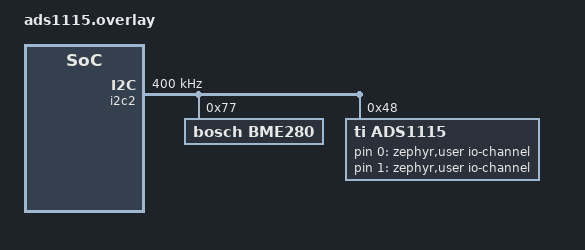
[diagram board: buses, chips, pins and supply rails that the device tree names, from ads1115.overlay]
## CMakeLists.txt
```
#
# Copyright (c) 2022 Achim Kraus CloudCoap.net
#
# See the NOTICE file(s) distributed with this work for additional
# information regarding copyright ownership.
#
# This program and the accompanying materials are made available under the
# terms of the Eclipse Public License 2.0 which is available at
# http://www.eclipse.org/legal/epl-2.0
#
# SPDX-License-Identifier: EPL-2.0
#

cmake_minimum_required(VERSION 3.21.0)

find_package(Zephyr REQUIRED HINTS $ENV{ZEPHYR_BASE})

project(coaps-client)

target_compile_options(app PRIVATE -fanalyzer)

# APP START
target_sources(app PRIVATE
	src/parse.c
	src/transform.c
	src/power_manager.c
	src/io_job_queue.c
	src/ui.c
	src/appl_diagnose.c
	src/appl_settings.c
	src/appl_time.c
	src/modem.c
	src/modem_desc.c
	src/modem_sim.c
	src/modem_at.c
	src/dtls_client.c
	src/coap_client.c
	src/coap_appl_client.c
	src/expansion_port.c
	)

target_sources_ifdef(CONFIG_DTLS_ECDSA_AUTO_PROVISIONING app PRIVATE src/coap_prov_client.c)

target_sources_ifdef(CONFIG_SH_CMD app PRIVATE src/sh_cmd.c)

target_sources_ifdef(CONFIG_SH_CMD app PRIVATE src/modem_cmd.c)

target_sources_ifdef(CONFIG_SH_CMD_MODEM_TRACE app PRIVATE src/modem_trace_cmd.c)

target_sources_ifdef(CONFIG_UART_MANAGER app PRIVATE src/uart_manager.c)

target_sources_ifdef(CONFIG_UPDATE app PRIVATE src/appl_update.c)

target_sources_ifdef(CONFIG_UART_UPDATE app PRIVATE src/appl_update_xmodem.c)

target_sources_ifdef(CONFIG_COAP_UPDATE app PRIVATE src/appl_update_coap.c)

target_sources_ifdef(CONFIG_LOCATION_ENABLE app PRIVATE src/location.c)

target_sources_ifdef(CONFIG_MOTION_SENSOR app PRIVATE src/accelerometer_sensor.c)

target_sources_ifdef(CONFIG_ENVIRONMENT_SENSOR app PRIVATE src/environment_sensor.c src/environment_history.c)

target_sources_ifdef(CONFIG_SHT21 app PRIVATE src/environment_sht21.c src/environment_history.c)

target_sources_ifdef(CONFIG_BATTERY_ADC app PRIVATE src/battery_adc.c)

target_sources_ifdef(CONFIG_NAU7802_SCALE app PRIVATE src/nau7802.c)

target_sources_ifdef(CONFIG_USE_APPL_STORAGE app PRIVATE src/appl_storage.c src/appl_storage_config.c)

if (CONFIG_BME680_BSEC)
        set(bsec_version "bsec_1-4-9-2_generic_release")
        set(bsec_dir "${ZEPHYR_NRF_MODULE_DIR}/ext/${bsec_version}")

        if (CONFIG_FP_SOFTABI)
                set(BSEC_LIB_DIR ${bsec_dir}/algo/normal_version/bin/gcc/Cortex_M33)
        endif()
        if (CONFIG_FP_HARDABI)
                set(BSEC_LIB_DIR ${bsec_dir}/algo/normal_version/bin/gcc/Cortex_M33F)
        endif()

        if(NOT EXISTS "${BSEC_LIB_DIR}/libalgobsec.a")
                assert(0 "Could not find BSEC library in \"${bsec_dir}\".")
        endif()

        if (CONFIG_BME680_BSEC_SAMPLE_MODE_ULTRA_LOW_POWER)
                set(BSEC_CONFIG_DIR ${bsec_dir}/config/generic_18v_300s_4d)
        endif()
        if (CONFIG_BME680_BSEC_SAMPLE_MODE_LOW_POWER)
                set(BSEC_CONFIG_DIR ${bsec_dir}/config/generic_18v_3s_4d)
        endif()
        set(BSEC_EXAMPLE_DIR ${bsec_dir}/examples)

        target_include_directories(app PRIVATE ${BSEC_LIB_DIR} ${BSEC_CONFIG_DIR} ${BSEC_EXAMPLE_DIR})

        target_sources(app PRIVATE 
                src/environment_sensor.c
                 src/environment_history.c
                ${BSEC_CONFIG_DIR}/bsec_serialized_configurations_iaq.c
                ${BSEC_EXAMPLE_DIR}/bsec_integration.c
                ${BSEC_EXAMPLE_DIR}/bme68x.c)

        add_library(bsec_lib STATIC IMPORTED GLOBAL)
        add_dependencies(bsec_lib math_lib bsec_target)

        set_target_properties(bsec_lib PROPERTIES IMPORTED_LOCATION "${BSEC_LIB_DIR}/libalgobsec.a")
        set_target_properties(bsec_lib PROPERTIES INTERFACE_INCLUDE_DIRECTORIES "${BSEC_LIB_DIR}")

        target_link_libraries(bsec_lib INTERFACE -L${LIBC_LIBRARY_DIR})
        target_link_libraries(app PUBLIC bsec_lib)
endif()

zephyr_include_directories(src)

# UART cmds
zephyr_linker_sources(SECTIONS sh_cmds.ld)

# tinydtls - support DTLS 1.2 Connection ID
zephyr_library_link_libraries(tinydtls)

# APP END

if (COPY_PREBUILDS_FULL)
   # Enable west build -b ... -- -DCOPY_PREBUILDS_FULL=On
   # Copies the .hex files before the build!
   # Therefore build it first without,
   # and a second time with -DCOPY_PREBUILDS_FULL=On

   message(NOTICE "copy prebuild full binaries into ${CMAKE_BINARY_DIR}/../prebuild")
   if (EXISTS "${CMAKE_BINARY_DIR}/zephyr/merged.hex")
      file(COPY_FILE ${CMAKE_BINARY_DIR}/zephyr/merged.hex ${CMAKE_BINARY_DIR}/../prebuild/${BOARD}_full.hex)
   else()
      message(FATAL_ERROR "missing ${CMAKE_BINARY_DIR}/zephyr/merged.hex")
   endif()
endif()

if (COPY_PREBUILDS_UPDATE)
   # Enable west build -b ... -- -DCOPY_PREBUILDS_UPDATE=On
   # Copies the .hex files before the build!
   # Therefore build it first without,
   # and a second time with -DCOPY_PREBUILDS_UPDATE=On

   message(NOTICE "copy prebuild update binaries into ${CMAKE_BINARY_DIR}/../prebuild")
   if (EXISTS "${CMAKE_BINARY_DIR}/zephyr/app_update.bin")
      file(COPY_FILE ${CMAKE_BINARY_DIR}/zephyr/app_update.bin ${CMAKE_BINARY_DIR}/../prebuild/${BOARD}_app_update.bin)
   else()
      message(FATAL_ERROR "missing ${CMAKE_BINARY_DIR}/zephyr/app_update.bin")
   endif()
   if (EXISTS "${CMAKE_BINARY_DIR}/zephyr/app_signed.hex")
      file(COPY_FILE ${CMAKE_BINARY_DIR}/zephyr/app_signed.hex ${CMAKE_BINARY_DIR}/../prebuild/${BOARD}_app_update.hex)
   else()
      message(FATAL_ERROR "missing ${CMAKE_BINARY_DIR}/zephyr/app_signed.hex")
   endif()
endif()

if (CONFIG_COAP_SEND_INTERVAL)
set(BUILD_SUMUP1 "Build with send interval ${CONFIG_COAP_SEND_INTERVAL} s.")
else()
set(BUILD_SUMUP1 "Build without send interval.")
endif()

if (CONFIG_LOCATION_ENABLE)
set(BUILD_SUMUP2 "Build with GNSS.")
else()
set(BUILD_SUMUP2 "Build without GNSS.")
endif()

if (CONFIG_BME680)
set(BUILD_SUMUP3 "Build with BME680.")
elseif (CONFIG_BME680_BSEC)
set(BUILD_SUMUP3 "Build with BME680 BSEC.")
elseif (CONFIG_SHT3XD)
set(BUILD_SUMUP3 "Build with SHT31.")
elseif (CONFIG_SHT21)
set(BUILD_SUMUP3 "Build with SHT21.")
elseif (CONFIG_DS18B20)
set(BUILD_SUMUP3 "Build with DS18B20.")
elseif (CONFIG_BME280)
set(BUILD_SUMUP3 "Build with BME280.")
elseif (CONFIG_DPS310)
set(BUILD_SUMUP3 "Build with DPS310.")
elseif (CONFIG_ENVIRONMENT_SENSOR)
set(BUILD_SUMUP3 "Build with env-sensor.")
else()
set(BUILD_SUMUP3 "Build without BME680/BME280/SHT21/SHT31/DS18B20/DPS310.")
endif()

if (CONFIG_ENVIRONMENT_SENSOR)
if (CONFIG_ENVIRONMENT_HISTORY_SIZE GREATER 0)
set(BUILD_SUMUP4 "Build with history using ${CONFIG_ENVIRONMENT_HISTORY_SIZE} values.")
else()
set(BUILD_SUMUP4 "Build without history.")
endif()
else()
set(BUILD_SUMUP4 "Build without history, no env-sensor.")
endif()


if (CONFIG_COAP_WAIT_ON_POWERMANAGER)
set(BUILD_SUMUP5 "Build with waiting for power-manager.")
else()
set(BUILD_SUMUP5 "Build without waiting for power-manager.")
endif()

if (CONFIG_SUSPEND_3V3 AND CONFIG_SUSPEND_UART)
set(BUILD_SUMUP6 "Suspend 3.3V and UART.")
elseif (CONFIG_SUSPEND_3V3)
set(BUILD_SUMUP6 "Suspend 3.3V.")
elseif (CONFIG_SUSPEND_UART)
set(BUILD_SUMUP6 "Suspend UART.")
else()
set(BUILD_SUMUP6 "Not suspending 3.3V nor UART.")
endif()

if (CONFIG_BATTERY_VOLTAGE_SOURCE_ADC)
set(BUILD_SUMUP7 "Build with ADC battery voltage.")
elseif (BATTERY_VOLTAGE_SOURCE_INA219)
set(BUILD_SUMUP7 "Build with INA219 battery voltage.")
else()
set(BUILD_SUMUP7 "Build with modem battery voltage.")
endif()


if (CONFIG_BATTERY_TYPE_LIPO_1350_MAH)
list(APPEND BATTERIES "1350 mAh LiPo")
endif()
if (CONFIG_BATTERY_TYPE_LIPO_2000_MAH)
list(APPEND BATTERIES "2000 mAh LiPo")
endif()
if (CONFIG_BATTERY_TYPE_LIPO_2000_MAH_ADC)
list(APPEND BATTERIES "2000 mAh LiPo/ADC")
endif()
if (CONFIG_BATTERY_TYPE_NIMH_2000_MAH)
list(APPEND BATTERIES "2000 mAh NiMH")
endif()
if (CONFIG_BATTERY_TYPE_NIMH_2000_MAH_ADC)
list(APPEND BATTERIES "2000 mAh NiMH/ADC")
endif()
if (CONFIG_BATTERY_TYPE_NIMH_4_2000_MAH)
list(APPEND BATTERIES "2000 mAh NiMH / 4 cells")
endif()
if (CONFIG_BATTERY_TYPE_SUPER_CAP_LIHY)
list(APPEND BATTERIES "400F LiHy")
endif()

list(LENGTH BATTERIES BATTERIES_LENGTH)
if (BATTERIES_LENGTH GREATER 0)
list(JOIN BATTERIES ", " BATTERIES)
set(BATTERY_DEFAULT "")
if (CONFIG_BATTERY_TYPE_DEFAULT EQUAL 1)
set(BATTERY_DEFAULT ", default 1350 mAh LiPo")
elseif(CONFIG_BATTERY_TYPE_DEFAULT EQUAL 2)
if (CONFIG_BATTERY_TYPE_LIPO_2000_MAH)
set(BATTERY_DEFAULT ", default 2000 mAh LiPo")
else()
set(BATTERY_DEFAULT ", default 2000 mAh LiPo/ADC")
endif()
elseif(CONFIG_BATTERY_TYPE_DEFAULT EQUAL 3)
if (CONFIG_BATTERY_TYPE_NIMH_2000_MAH)
set(BATTERY_DEFAULT ", default 2000 mAh NiMH")
else()
set(BATTERY_DEFAULT ", default 2000 mAh NiMH/ADC")
endif()
elseif(CONFIG_BATTERY_TYPE_DEFAULT EQUAL 4)
set(BATTERY_DEFAULT ", default 2000 mAh NiMH/4")
elseif(CONFIG_BATTERY_TYPE_DEFAULT EQUAL 5)
set(BATTERY_DEFAULT ", default 400 F LiHy")
endif()
set(BUILD_SUMUP8 "Build with batteries ${BATTERIES}${BATTERY_DEFAULT}")
else()
set(BUILD_SUMUP8 "Build without battery")
endif()

if (CONFIG_LOG_BACKEND_UART_MANAGER)
set(BUILD_SUMUP9 "Build with UART manager log backend.")
elseif (CONFIG_UART_MANAGER)
set(BUILD_SUMUP9 "Build with UART manager.")
else()
set(BUILD_SUMUP9 "Build without UART manager.")
endif()

if (CONFIG_NRF_MODEM_LIB_TRACE)
if (CONFIG_NRF_MODEM_LIB_TRACE_BACKEND_UART)
set(BUILD_SUMUP10 "Build with UART modem trace.")
elseif (CONFIG_NRF_MODEM_LIB_TRACE_BACKEND_FLASH)
set(BUILD_SUMUP10 "Build with FLASH modem trace.")
elseif (CONFIG_NRF_MODEM_LIB_TRACE_BACKEND_RAM)
set(BUILD_SUMUP10 "Build with RAM modem trace.")
elseif (CONFIG_NRF_MODEM_LIB_TRACE_BACKEND_RTT)
set(BUILD_SUMUP10 "Build with RTT modem trace.")
else()
set(BUILD_SUMUP10 "Build unknown modem trace?")
endif()
else()
set(BUILD_SUMUP10 "Build without modem trace.")
endif()

if (CONFIG_INIT_SETTINGS)
set(BUILD_SUMUP11 "Build with initial settings.")
else()
set(BUILD_SUMUP11 "Build without initial settings.")
endif()

if (CONFIG_USE_APPL_STORAGE)
set(BUILD_SUMUP12 "Build with application storage.")
else()
set(BUILD_SUMUP12 "Build without application storage.")
endif()

zephyr_get(USE_NEW_PARTITION_LAYOUT SYSBUILD)

if (USE_NEW_PARTITION_LAYOUT)
set(BUILD_SUMUP13 "Build with new partition layout.")
else()
set(BUILD_SUMUP13 "Build with old partition layout.")
endif()

message(STATUS "PM_STATIC_YML_FILE: ${PM_STATIC_YML_FILE}")

add_custom_command(TARGET app POST_BUILD
                   COMMAND echo "${BUILD_SUMUP1}"
                   COMMAND echo "${BUILD_SUMUP2}"
                   COMMAND echo "${BUILD_SUMUP3}"
                   COMMAND echo "${BUILD_SUMUP4}"
                   COMMAND echo "${BUILD_SUMUP5}"
                   COMMAND echo "${BUILD_SUMUP6}"
                   COMMAND echo "${BUILD_SUMUP7}"
                   COMMAND echo "${BUILD_SUMUP8}"
                   COMMAND echo "${BUILD_SUMUP9}"
                   COMMAND echo "${BUILD_SUMUP10}"
                   COMMAND echo "${BUILD_SUMUP11}"
                   COMMAND echo "${BUILD_SUMUP12}"
                   COMMAND echo "${BUILD_SUMUP13}"
                   COMMAND echo "Build with network search timeout ${CONFIG_MODEM_SEARCH_TIMEOUT}s"
                   COMMAND echo "${CONFIG_MCUBOOT_IMGTOOL_SIGN_VERSION}"
                   )
```

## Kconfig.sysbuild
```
#
# Copyright (c) 2026 Nordic Semiconductor ASA
#
# SPDX-License-Identifier: LicenseRef-Nordic-5-Clause
#

config PARTITION_MANAGER
	default n

if BOARD_THINGY91X_NRF9151 || BOARD_THINGY91X_NRF9151_NS

choice THINGY91X_LAYOUT
	prompt "Pre-defined Thingy:91 X partition layout"
	default THINGY91X_NO_PREDEFINED_LAYOUT

config THINGY91X_NO_PREDEFINED_LAYOUT
	bool "None [EXPERIMENTAL]"

endchoice

endif

source "share/sysbuild/Kconfig"
```

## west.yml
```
#
# Copyright (c) 2022 Achim Kraus CloudCoap.net
#
# See the NOTICE file(s) distributed with this work for additional
# information regarding copyright ownership.
#
# This program and the accompanying materials are made available under the
# terms of the Eclipse Public License 2.0 which is available at
# http://www.eclipse.org/legal/epl-2.0
#
# SPDX-License-Identifier: EPL-2.0
#

manifest:
  remotes:
    - name: ncs
      url-base: https://github.com/nrfconnect
    - name: eclipse
      url-base: https://github.com/boaks
  projects:
    - name: nrf
      repo-path: sdk-nrf
      remote: ncs
      revision: v3.4.0
      import:
        name-blocklist:
          - matter
          - nrf-802154
          - openthread
          - cmock
          - unity
          - cddl-gen
          - homekit
          - loramac-node
          - lz4
          - lvgl
          - mipi-sys-t
    - name: tinydtls
      submodules: true
      repo-path: tinydtls
      remote: eclipse
      revision: zephyr_cid_develop
      path: modules/lib/tinydtls
  self:
    path: coaps-client
```

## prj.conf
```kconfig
#
# Copyright (c) 2022 Achim Kraus CloudCoap.net
#
# See the NOTICE file(s) distributed with this work for additional
# information regarding copyright ownership.
#
# This program and the accompanying materials are made available under the
# terms of the Eclipse Public License 2.0 which is available at
# http://www.eclipse.org/legal/epl-2.0
#
# SPDX-License-Identifier: EPL-2.0
#

# Application version, requires CONFIG_BOOTLOADER_MCUBOOT
# Before NCS 2.5.0
# CONFIG_MCUBOOT_IMAGE_VERSION="0.9.99+0"
# Since NCS 2.5.0 the VERSION file provides that information 

CONFIG_TFM_PROFILE_TYPE_MINIMAL=y

CONFIG_KERNEL_BIN_NAME="cloudcoap"
CONFIG_NCS_APPLICATION_BOOT_BANNER_STRING="cloudcoap"

# General config
# gone with NCS 3.4.0
#CONFIG_NEWLIB_LIBC=y
#CONFIG_NEWLIB_LIBC_FLOAT_PRINTF=y
CONFIG_PICOLIBC=y
CONFIG_PICOLIBC_IO_FLOAT=y
#CONFIG_CBPRINTF_COMPLETE=y

CONFIG_NCS_SAMPLES_DEFAULTS=y
CONFIG_FPU=y

# FLASH
CONFIG_FLASH=y
CONFIG_FLASH_PAGE_LAYOUT=y
CONFIG_FLASH_MAP=y
CONFIG_STREAM_FLASH=y
CONFIG_MPU_ALLOW_FLASH_WRITE=y
CONFIG_IMG_ERASE_PROGRESSIVELY=y

# Settings
CONFIG_SETTINGS=y
CONFIG_SETTINGS_NVS=y
CONFIG_NVS=y
CONFIG_SETTINGS_RUNTIME=y
CONFIG_BASE64=y

# CONFIG_STACK_CANARIES=y
# CONFIG_USERSPACE=y
CONFIG_DEBUG_THREAD_INFO=y

# Heap and stacks
CONFIG_MAIN_STACK_SIZE=6000
CONFIG_HEAP_MEM_POOL_SIZE=16384
CONFIG_SYSTEM_WORKQUEUE_STACK_SIZE=2048

CONFIG_REBOOT=y
CONFIG_HWINFO=y
CONFIG_PM_DEVICE=y

CONFIG_WATCHDOG=y
CONFIG_WDT_DISABLE_AT_BOOT=n

#CONFIG_SPIN_VALIDATE=n

#CONFIG_THREAD_ANALYZER=y                                                                           
#CONFIG_THREAD_ANALYZER_AUTO=y                                                                      
#CONFIG_THREAD_ANALYZER_AUTO_INTERVAL=5                                                       
#CONFIG_THREAD_NAME=y

#CONFIG_MPU_STACK_GUARD=y

# Logging
CONFIG_LOG=y
CONFIG_LOG_MODE_DEFERRED=y
#CONFIG_LOG_MODE_IMMEDIATE=y

#CONFIG_USE_SEGGER_RTT=y
#CONFIG_LOG_BACKEND_RTT=y
#CONFIG_LOG_BACKEND_FORMAT_TIMESTAMP=y

CONFIG_TFM_LOG_LEVEL_SILENCE=n
CONFIG_TFM_SPM_LOG_LEVEL_DEBUG=y
CONFIG_TFM_EXCEPTION_INFO_DUMP=y
CONFIG_TFM_SECURE_UART_SHARE_INSTANCE=y
CONFIG_TFM_SECURE_UART0=y

# Use UART in async mode (DMA)
CONFIG_UART_ASYNC_API=y
CONFIG_UART_0_ASYNC=y
CONFIG_UART_0_INTERRUPT_DRIVEN=n
CONFIG_NRFX_TIMER=y

# Network
CONFIG_NETWORKING=y
CONFIG_NET_NATIVE=n
CONFIG_NET_SOCKETS=y
CONFIG_NET_SOCKETS_OFFLOAD=y
CONFIG_POSIX_API=y

#CONFIG_XSI_SINGLE_PROCESS=y
CONFIG_NET_IPV6_NBR_CACHE=n
CONFIG_NET_IPV6_MLD=n

# LTE link control
CONFIG_LTE_LINK_CONTROL=y
# Removed in NCS 2.6.0
# CONFIG_LTE_AUTO_INIT_AND_CONNECT=n
CONFIG_MODEM_INFO=n

# Uncomment for tracing or 
# enable it via cli "-DCONFIG_NRF_MODEM_LIB_TRACE=y"
# CONFIG_NRF_MODEM_LIB_TRACE=y

# Modem library
CONFIG_NRF_MODEM_LIB=y
CONFIG_NRF_MODEM_LIB_ON_FAULT_APPLICATION_SPECIFIC=y

# since NCS 2.9.0 (? after NCS 2.6.2)
CONFIG_LTE_LC_PSM_MODULE=y
CONFIG_LTE_LC_EDRX_MODULE=y
CONFIG_LTE_LC_TAU_PRE_WARNING_MODULE=y
CONFIG_LTE_LC_NEIGHBOR_CELL_MEAS_MODULE=y
CONFIG_LTE_LC_MODEM_SLEEP_MODULE=y
CONFIG_LTE_LC_RAI_MODULE=y
## PDN
CONFIG_AT_MONITOR_HEAP_SIZE=4096
CONFIG_LTE_LC_PDN_MODULE=y
CONFIG_LTE_LC_PDN_ESM_STRERROR=y
CONFIG_LTE_LC_PDN_DEFAULT_FAM_IPV4=y
CONFIG_LTE_LC_PDN_DEFAULTS_OVERRIDE=y

CONFIG_LTE_LC_MODEM_EVENTS_MODULE=y

# LTE parameters
## Network Mode / LTE category
#CONFIG_LTE_NETWORK_MODE_NBIOT=y
#CONFIG_LTE_NETWORK_MODE_LTE_M=y
#CONFIG_LTE_NETWORK_MODE_LTE_M_NBIOT=y
CONFIG_LTE_NETWORK_MODE_LTE_M_NBIOT_GPS=y
CONFIG_LTE_MODE_PREFERENCE_AUTO=y
#CONFIG_LTE_MODE_PREFERENCE_LTE_M=y
#CONFIG_LTE_MODE_PREFERENCE_NBIOT=y
#CONFIG_LTE_MODE_PREFERENCE_LTE_M_PLMN_PRIO=y
#CONFIG_LTE_MODE_PREFERENCE_NBIOT_PLMN_PRIO=y
CONFIG_LTE_LC_MODEM_SLEEP_NOTIFICATIONS=y
CONFIG_LTE_LINK_CONTROL_LOG_LEVEL_INF=y
# indicates all sleeps longer that 30s
CONFIG_LTE_LC_MODEM_SLEEP_NOTIFICATIONS_THRESHOLD_MS=30000
CONFIG_AT_MONITOR=y
#CONFIG_LTE_POWER_ON_OFF_CONFIG_SWITCH=y

## PSM
CONFIG_UDP_PSM_ENABLE=y
# 001xxxxx : hours
# CONFIG_LTE_PSM_REQ_RPTAU="00100100"
# CONFIG_LTE_PSM_REQ_RPTAU="00100001"
# CONFIG_LTE_PSM_REQ_RPTAU="00101000"
# 24h
CONFIG_LTE_PSM_REQ_RPTAU="00111000"
# 101xxxxx : minutes
# CONFIG_LTE_PSM_REQ_RPTAU="10100100"
# 000xxxxx : 10 minutes
# CONFIG_LTE_PSM_REQ_RPTAU="00000001"

# CONFIG_LTE_PSM_REQ_RAT is overwritten in modem.c 
CONFIG_LTE_PSM_REQ_RAT="00000000"

## RAI
CONFIG_AS_RAI_ON=y
# CONFIG_CP_RAI_ON=y

## eDRX
CONFIG_UDP_EDRX_ENABLE=n
#CONFIG_LTE_EDRX_REQ=n
# 655,36 seconds
#CONFIG_LTE_EDRX_REQ_VALUE_LTE_M="1011"
#CONFIG_LTE_EDRX_REQ_VALUE_NBIOT="1011"
#CONFIG_LTE_PTW_VALUE_LTE_M="1111"
#CONFIG_LTE_PTW_VALUE_NBIOT="1001"
# 163.84 seconds
#CONFIG_LTE_EDRX_REQ_VALUE_LTE_M="1001"
#CONFIG_LTE_EDRX_REQ_VALUE_NBIOT="1001"
# 81.92 seconds
#CONFIG_LTE_EDRX_REQ_VALUE_LTE_M="0101"
#CONFIG_LTE_EDRX_REQ_VALUE_NBIOT="0101"
# 40.96 seconds
#CONFIG_LTE_EDRX_REQ_VALUE_LTE_M="0011"
#CONFIG_LTE_EDRX_REQ_VALUE_NBIOT="0011"
# 20.48 seconds
CONFIG_LTE_EDRX_REQ_VALUE_LTE_M="0010"
CONFIG_LTE_EDRX_REQ_VALUE_NBIOT="0010"

CONFIG_LTE_LOCK_BANDS=n

# CONFIG_LTE_LOCK_PLMN=y
# Germany:
# - Telekom: 26201
# - Vodafone: 26202
# - Telefonica: 26203
# CONFIG_LTE_LOCK_PLMN_STRING="26202"

#CONFIG_LTE_FEATURE_PLMN_SELECT_OPTIMIZATION=n
#CONFIG_LTE_FEATURE_HPPLMN_SKIP=n

## SMS
CONFIG_SMS=y
CONFIG_SMS_SUBSCRIBERS_MAX_CNT=2
CONFIG_SMS_LOG_LEVEL_DBG=n

## CoAP
CONFIG_COAP=y

# Logging
CONFIG_COAP_CLIENT_LOG_LEVEL_INF=y
CONFIG_UI_LOG_LEVEL_INF=y
CONFIG_STORAGE_LOG_LEVEL_INF=y

# TinyDtls
CONFIG_LIBTINYDTLS=y
CONFIG_LIBTINYDTLS_PSK=y
CONFIG_LIBTINYDTLS_ECDHE_ECDSA=y
CONFIG_TINYDTLS_LOG_LEVEL_INF=y

# External SHT21 temperature sensor
# CONFIG_SHT21=y
# CONFIG_I2C_LOG_LEVEL_OFF=y
```

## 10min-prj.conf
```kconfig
#
# Copyright (c) 2022 Achim Kraus CloudCoap.net
#
# See the NOTICE file(s) distributed with this work for additional
# information regarding copyright ownership.
#
# This program and the accompanying materials are made available under the
# terms of the Eclipse Public License 2.0 which is available at
# http://www.eclipse.org/legal/epl-2.0
#
# SPDX-License-Identifier: EPL-2.0
#

CONFIG_COAP_SEND_INTERVAL=600
CONFIG_ENVIRONMENT_HISTORY_SIZE=12
CONFIG_ENVIRONMENT_HISTORY_INTERVAL_S=60
```

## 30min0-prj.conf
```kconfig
#
# Copyright (c) 2022 Achim Kraus CloudCoap.net
#
# See the NOTICE file(s) distributed with this work for additional
# information regarding copyright ownership.
#
# This program and the accompanying materials are made available under the
# terms of the Eclipse Public License 2.0 which is available at
# http://www.eclipse.org/legal/epl-2.0
#
# SPDX-License-Identifier: EPL-2.0
#

CONFIG_COAP_SEND_INTERVAL=1800
CONFIG_ENVIRONMENT_HISTORY_SIZE=0
CONFIG_ENVIRONMENT_HISTORY_INTERVAL_S=0
```

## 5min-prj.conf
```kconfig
#
# Copyright (c) 2022 Achim Kraus CloudCoap.net
#
# See the NOTICE file(s) distributed with this work for additional
# information regarding copyright ownership.
#
# This program and the accompanying materials are made available under the
# terms of the Eclipse Public License 2.0 which is available at
# http://www.eclipse.org/legal/epl-2.0
#
# SPDX-License-Identifier: EPL-2.0
#

CONFIG_COAP_SEND_INTERVAL=300
CONFIG_ENVIRONMENT_HISTORY_SIZE=12
CONFIG_ENVIRONMENT_HISTORY_INTERVAL_S=30
```

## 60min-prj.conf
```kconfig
#
# Copyright (c) 2022 Achim Kraus CloudCoap.net
#
# See the NOTICE file(s) distributed with this work for additional
# information regarding copyright ownership.
#
# This program and the accompanying materials are made available under the
# terms of the Eclipse Public License 2.0 which is available at
# http://www.eclipse.org/legal/epl-2.0
#
# SPDX-License-Identifier: EPL-2.0
#

CONFIG_COAP_SEND_INTERVAL=3600
CONFIG_ENVIRONMENT_HISTORY_SIZE=14
CONFIG_ENVIRONMENT_HISTORY_INTERVAL_S=300
```

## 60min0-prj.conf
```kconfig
#
# Copyright (c) 2022 Achim Kraus CloudCoap.net
#
# See the NOTICE file(s) distributed with this work for additional
# information regarding copyright ownership.
#
# This program and the accompanying materials are made available under the
# terms of the Eclipse Public License 2.0 which is available at
# http://www.eclipse.org/legal/epl-2.0
#
# SPDX-License-Identifier: EPL-2.0
#

CONFIG_COAP_SEND_INTERVAL=3600
CONFIG_COAP_FAILURE_SEND_INTERVAL=600
CONFIG_ENVIRONMENT_HISTORY_SIZE=0
CONFIG_ENVIRONMENT_HISTORY_INTERVAL_S=0
```

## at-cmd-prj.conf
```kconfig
#
# Copyright (c) 2022 Achim Kraus CloudCoap.net
#
# See the NOTICE file(s) distributed with this work for additional
# information regarding copyright ownership.
#
# This program and the accompanying materials are made available under the
# terms of the Eclipse Public License 2.0 which is available at
# http://www.eclipse.org/legal/epl-2.0
#
# SPDX-License-Identifier: EPL-2.0
#

CONFIG_LOG_PROCESS_THREAD_SLEEP_MS=100
CONFIG_LOG_BUFFER_SIZE=2048
CONFIG_LOG_BACKEND_UART=n
CONFIG_LOG_BACKEND_FORMAT_TIMESTAMP=n

CONFIG_UART_RECEIVER=y
```

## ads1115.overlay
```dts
/*
 * Copyright (c) 2025 Achim Kraus CloudCoap.net
 *
 * See the NOTICE file(s) distributed with this work for additional
 * information regarding copyright ownership.
 *
 * This program and the accompanying materials are made available under the
 * terms of the Eclipse Public License 2.0 which is available at
 * http://www.eclipse.org/legal/epl-2.0
 *
 * SPDX-License-Identifier: EPL-2.0 or Apache-2.0
 */

/*
 * Usage: 
 *
 * west build -d build_nrf9160dk_nrf9160_ns -b nrf9160dk_nrf9160_ns --pristine -- \
 *    -DOVERLAY_CONFIG="60min0-prj.conf;mikroe-prj.conf" -DDTC_OVERLAY_FILE="mikroe.overlay"
 */

/ {
	zephyr,user {
		io-channels = <&ads1115 0>, <&ads1115 1>;
	};
};

&i2c2 {
	clock-frequency = <I2C_BITRATE_FAST>;

	bme280: bme280@77 {
		status = "okay";
		compatible = "bosch,bme280";
		reg = <0x77>;
	};

	ads1115: ads1115@48 {
		status = "okay";
		compatible = "ti,ads1115";
		reg = <0x48>;
		#io-channel-cells = <1>;
		#address-cells = < 1 >;
		#size-cells = < 0 >;

		channel@0 {
			reg = <0>;
			zephyr,gain = "ADC_GAIN_1";
			zephyr,reference = "ADC_REF_INTERNAL";
			zephyr,acquisition-time = <ADC_ACQ_TIME_DEFAULT>;
			zephyr,resolution = < 15 >;
			zephyr,input-positive = <0>;
		};

		channel@1 {
			reg = <1>;
			zephyr,gain = "ADC_GAIN_1_2";
			zephyr,reference = "ADC_REF_INTERNAL";
			zephyr,acquisition-time = <ADC_ACQ_TIME_DEFAULT>;
			zephyr,resolution = < 15 >;
			zephyr,input-positive = <1>;
		};

	};
	
};

/ {

	aliases {
		/* alias for sensor with SENSOR_CHAN_AMBIENT_TEMP channel */
		temperature-sensor = &bme280;
		/* alias for sensor with SENSOR_CHAN_HUMIDITY channel */
		humidity-sensor = &bme280;
		/* alias for sensor with SENSOR_CHAN_PRESS channel */
		pressure-sensor = &bme280;

		adc-sensor = &ads1115;
	};

};
```

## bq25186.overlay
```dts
/*
 * Copyright (c) 2023 Achim Kraus CloudCoap.net
 *
 * See the NOTICE file(s) distributed with this work for additional
 * information regarding copyright ownership.
 *
 * This program and the accompanying materials are made available under the
 * terms of the Eclipse Public License 2.0 which is available at
 * http: //www.eclipse.org/legal/epl-2.0
 *
 * SPDX-License-Identifier: EPL-2.0
 */

/*
 * Usage:
 *
 * west build -d build_nrf9160dk_nrf9160_ns -b nrf9160dk_nrf9160_ns --pristine -- \
 *   -DDTC_OVERLAY_FILE="boards/nrf9160dk_nrf9160_ns.overlay;bq25186.overlay"
 */



&sensor_i2c {
	status = "okay";
	clock-frequency = <I2C_BITRATE_STANDARD>;
};
```

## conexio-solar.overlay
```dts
/*
 * Copyright (c) 2024 Achim Kraus CloudCoap.net
 *
 * See the NOTICE file(s) distributed with this work for additional
 * information regarding copyright ownership.
 *
 * This program and the accompanying materials are made available under the
 * terms of the Eclipse Public License 2.0 which is available at
 * http://www.eclipse.org/legal/epl-2.0
 *
 * SPDX-License-Identifier: EPL-2.0 or Apache-2.0
 */

/*
 * Usage: 
 *
 * west build -d build_conexio_stratus_pro_ns -b conexio_stratus_pro_ns --pristine -- \
 *    -DOVERLAY_CONFIG="60min0-prj.conf;uart-prj.conf" -DEXTRA_DTC_OVERLAY_FILE="conexio-solar.overlay"
 */

/	{

	leds {
		green_led: led_1 {
			gpios = <&gpio0 1 GPIO_ACTIVE_LOW>;
		};

	};

	buttons {
		button0: button_0 {
			gpios = <&gpio0 0 (GPIO_PULL_UP | GPIO_ACTIVE_LOW)>;
		};
	};

	aliases {

		led2 = &{/leds/led_0};
		led1 = &{/leds/led_1};

	};

};

&pmic_charger {
        /* lower term voltage for super-cap */
	term-microvolt = <4000000>;
	term-warm-microvolt = <4000000>;
	trickle-microvolt = <2500000>;

};
```

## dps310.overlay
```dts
/*
 * Copyright (c) 2025 Achim Kraus CloudCoap.net
 *
 * See the NOTICE file(s) distributed with this work for additional
 * information regarding copyright ownership.
 *
 * This program and the accompanying materials are made available under the
 * terms of the Eclipse Public License 2.0 which is available at
 * http://www.eclipse.org/legal/epl-2.0
 *
 * SPDX-License-Identifier: EPL-2.0
 */

/*
 * Usage: 
 *
 * west build -d build_nrf9160dk_nrf9160_ns -b nrf9160dk_nrf9160_ns --pristine -- \
 *    -DOVERLAY_CONFIG="dps310-prj.conf" -DDTC_OVERLAY_FILE="boards/nrf9160dk_nrf9160_ns.overlay;dps310.overlay" 
 */ 

/ {
	/* Map the devices to the aliases of the application. */ 
	aliases {	

		/* alias for sensor with SENSOR_CHAN_AMBIENT_TEMP channel */
		temperature-sensor = &dps310;
		/* alias for sensor with SENSOR_CHAN_PRESS channel */
		pressure-sensor = &dps310;
	};
	
};

&sensor_i2c {
	status = "okay";

	dps310: dps310@77 { 
		compatible = "infineon,dps310";
		reg = <0x77>;
		label = "DPS310";
		status = "okay";
	};
};
```

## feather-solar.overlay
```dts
/*
 * Copyright (c) 2025 Achim Kraus CloudCoap.net
 *
 * See the NOTICE file(s) distributed with this work for additional
 * information regarding copyright ownership.
 *
 * This program and the accompanying materials are made available under the
 * terms of the Eclipse Public License 2.0 which is available at
 * http://www.eclipse.org/legal/epl-2.0
 *
 * SPDX-License-Identifier: EPL-2.0 or Apache-2.0
 */

/*
 * Usage: 
 *
 * west build -d build_feather_nrf9160_ns -b circuitdojo_feather_nrf9160_ns --pristine -- \
 *    -DOVERLAY_CONFIG="60min0-prj.conf;uart-prj.conf" -DDTC_OVERLAY_FILE="feather-solar.overlay" \
 *    -DCONFIG_SOLAR_CHARGER=y
 */

#include "boards/circuitdojo_feather_nrf9160_ns.overlay"

/	{

	leds {
		green_led: led_1 {
			gpios = <&gpio0 2 GPIO_ACTIVE_LOW>;
		};

	};

	buttons {
		button0: button_0 {
			gpios = <&gpio0 1 (GPIO_PULL_DOWN | GPIO_ACTIVE_HIGH)>;
		};
	};


	solar-control {
		compatible = "solar-control";
		status = "okay";
		low-voltage = <3600>;
		max-voltage = <4000>;
		check-interval = <300>;
		enable-gpios     = <&gpio0 15 GPIO_ACTIVE_LOW>;
		power-good-gpios = <&gpio0 16 GPIO_ACTIVE_LOW>;
		charging-gpios   = <&gpio0 17 GPIO_ACTIVE_LOW>;
	};

	aliases {

		led2 = &{/leds/led_0};
		led1 = &{/leds/led_1};

	};

};

&gpio0 {
    sense-edge-mask = <0xffffff>;
};
```

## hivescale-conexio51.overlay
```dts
/*
 * Copyright (c) 2025 Achim Kraus CloudCoap.net
 *
 * See the NOTICE file(s) distributed with this work for additional
 * information regarding copyright ownership.
 *
 * This program and the accompanying materials are made available under the
 * terms of the Eclipse Public License 2.0 which is available at
 * http: //www.eclipse.org/legal/epl-2.0
 *
 * SPDX-License-Identifier: EPL-2.0
 */

/*
 * Usage (NCS 2.9.1):
 *
 * west build -d build_conexio_stratus_pro_nrf9151_ns -b conexio_stratus_pro/nrf9151/ns --pristine -- \
 *    -DOVERLAY_CONFIG="60min0-prj.conf;uart-prj.conf;hivescale-prj.conf" \
 *    -DEXTRA_DTC_OVERLAY_FILE="hivescale-conexio51.overlay" -DCONFIG_BATTERY_TYPE_ENELOOP_2000_MAH=y
 */

&i2c2 {

	eeprom_a: eeprom@50 {
		/* AT24HC04B (4 kbit eeprom 512x8 bit) */
		/* NOTE: the 9th address bit collides with the 0x51 of the feather clock chip. */
		compatible = "atmel,at24";
		reg = <0x50>;
		size = <512>;
		pagesize = <16>;
		address-width = <8>;
		timeout = <5>;
	};

	scale_a: scale@2a {
		compatible = "nau7802-scale";
		reg = <0x2a>;
		avref_mv = <3000>;
		ext_avref_mv = <0>;
		gain = <128>;
		sps = <40>;
		min_divider = <500>;
		max_dither = <250>;
		internal_oscilator;
		pga_cap;
//		calibration_storage = <&eeprom_a>;
	};

};

/    {

	aliases {
		scale-a = &scale_a;
//		/delete-property/ regulator-3v3; 
	};

};
```

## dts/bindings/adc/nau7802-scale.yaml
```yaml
#
# Copyright (c) 2023 Achim Kraus CloudCoap.net
#
# See the NOTICE file(s) distributed with this work for additional
# information regarding copyright ownership.
#
# This program and the accompanying materials are made available under the
# terms of the Eclipse Public License 2.0 which is available at
# http://www.eclipse.org/legal/epl-2.0
#
# SPDX-License-Identifier: EPL-2.0
#

description: |
  Description for a scale based on I2C with ADC (NAU7802) and
  calibration EEPROM.

compatible: "nau7802-scale"

include: i2c-device.yaml

properties:
  avref_mv:
    type: int
    required: true
    description: Analog Voltage Reference in mV
    enum:
      - 2400
      - 2700
      - 3000
      - 3300
      - 3600
      - 3900
      - 4200
      - 4500

  ext_avref_mv:
    type: int
    required: true
    description: External Analog Voltage Reference in mV

  min_divider:
    type: int
    required: true
    description: Minimal divider
    
  max_dither:
    type: int
    required: true
    description: Maximum dither
  
  gain:
    type: int
    required: true
    description: |
      Gain selection:
        - 0: bypass PGA
        - 1: gain x1
        - 2: gain x2
        - 4: gain x4
        - 8: gain x8
        - 16: gain x16
        - 32: gain x32
        - 64: gain x64
        - 128: gain x128
    enum:
      - 0
      - 1
      - 2
      - 4
      - 8
      - 16
      - 32
      - 64
      - 128

  sps:
    type: int
    required: true
    description: |
      samples per second:
        - 10: 10 sps
        - 20: 20 sps
        - 40: 40 sps
        - 80: 80 sps
        - 320: 320 sps
    enum:
      - 10
      - 20
      - 40
      - 80
      - 320

  internal_oscilator:
    type: boolean
    description: |
      Enable internal oscilator.

  pga_cap:
    type: boolean
    description: |
      Enable PGA output bypass capacitor connected across pins Vin2P Vin2N.

  read_temperature:
    type: boolean
    description: |
      Read internal temperature after sampling.

  calibration_storage:
    type: phandle
```

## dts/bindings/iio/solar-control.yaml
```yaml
# Copyright (c) 2025, Achim Kraus, cloudcoap.net
# SPDX-License-Identifier: Apache-2.0

description: |
    Description for a solar-charger controler. Monitors "power in", "charging"
    and "carging enable".

compatible: "solar-control"

include: base.yaml

properties:
  enable-gpios:
    type: phandle-array
    description: |
      Charger enable output.

      If present the corresponding GPIO must be set to an active level
      to enable the charger. The commonly used 10k pull-down causes
      400µA quiescent current, when charging should be disabled.

  power-good-gpios:
    type: phandle-array
    description: |
      Power Good input.

      If present the corresponding GPIO must indicate power-in as active level.

  charging-gpios:
    type: phandle-array
    description: |
      Charging input.

      If present the corresponding GPIO must indicate charging as active level.

  max-voltage:
    type: int
    default: 4200
    description: |
      maximum voltage in millivolt

  low-voltage:
    type: int
    default: 3400
    description: |
      low voltage in millivolt

  check-interval:
    type: int
    default: 300
    description: |
      voltage check interval in seconds

  change-interval:
    type: int
    default: 10
    description: |
      power good check interval in seconds
```

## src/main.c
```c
/*
 * Copyright (c) 2022 Achim Kraus CloudCoap.net
 *
 * See the NOTICE file(s) distributed with this work for additional
 * information regarding copyright ownership.
 *
 * This program and the accompanying materials are made available under the
 * terms of the Eclipse Public License 2.0 which is available at
 * http://www.eclipse.org/legal/epl-2.0
 *
 * SPDX-License-Identifier: EPL-2.0
 */

#include <logging/log.h>

#include "coap_client.h"
#include "dtls_client.h"

LOG_MODULE_REGISTER(COAP_CLIENT, CONFIG_COAP_CLIENT_LOG_LEVEL);

void main(void)
{
   LOG_INF("CoAP/DTLS CID sample " CLIENT_VERSION " has started");
   dtls_loop();
}
```

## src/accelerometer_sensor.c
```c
/*
 * Copyright (c) 2022 Achim Kraus CloudCoap.net
 *
 * See the NOTICE file(s) distributed with this work for additional
 * information regarding copyright ownership.
 *
 * This program and the accompanying materials are made available under the
 * terms of the Eclipse Public License 2.0 which is available at
 * http://www.eclipse.org/legal/epl-2.0
 *
 * SPDX-License-Identifier: EPL-2.0
 */

#include <zephyr/drivers/i2c.h>
#include <zephyr/drivers/sensor.h>
#include <zephyr/kernel.h>
#include <zephyr/logging/log.h>

#include "accelerometer_sensor.h"
#include "io_job_queue.h"
#include "power_manager.h"

LOG_MODULE_DECLARE(COAP_CLIENT, CONFIG_COAP_CLIENT_LOG_LEVEL);

static const struct device *accelerometer_dev = DEVICE_DT_GET_OR_NULL(DT_ALIAS(accelerometer_sensor));

static accelerometer_handler_t accelerometer_handler = NULL;

#if !defined(CONFIG_LIS2DH_TRIGGER_NONE)

static void accelerometer_read(const struct device *dev, accelerometer_handler_t handler)
{
   int err = 0;
   struct sensor_value data[ACCELEROMETER_CHANNELS];
   struct accelerometer_evt evt;

   if (sensor_sample_fetch(dev) < 0) {
      LOG_ERR("Sample fetch error");
      return;
   }

   err = sensor_channel_get(dev, SENSOR_CHAN_ACCEL_X, &data[0]);
   err += sensor_channel_get(dev, SENSOR_CHAN_ACCEL_Y, &data[1]);
   err += sensor_channel_get(dev, SENSOR_CHAN_ACCEL_Z, &data[2]);

   if (err) {
      LOG_ERR("sensor_channel_get, error: %d", err);
      return;
   }

   evt.values[0] = sensor_value_to_double(&data[0]);
   evt.values[1] = sensor_value_to_double(&data[1]);
   evt.values[2] = sensor_value_to_double(&data[2]);

   if (handler) {
      handler(&evt);
      return;
   }

   LOG_INF("Accelerometer x %.02f, y %.02f, z %.02f", evt.values[0], evt.values[1], evt.values[2]);
}

static void accelerometer_enable_fn(struct k_work *work)
{
   accelerometer_read(accelerometer_dev, NULL);
   accelerometer_enable(true);
}

static K_WORK_DELAYABLE_DEFINE(accelerometer_enable_work, accelerometer_enable_fn);

static void accelerometer_trigger_handler(const struct device *dev,
                                          const struct sensor_trigger *trig)
{
   switch (trig->type) {
      case SENSOR_TRIG_DELTA:
      case SENSOR_TRIG_MOTION:
      case SENSOR_TRIG_THRESHOLD:
      case SENSOR_TRIG_DATA_READY:
         LOG_INF("Accelerometer trigger %d", trig->type);
         accelerometer_read(dev, accelerometer_handler);
         accelerometer_enable(false);
         work_reschedule_for_io_queue(&accelerometer_enable_work, K_MSEC(5000));
         break;
      default:
         LOG_ERR("Unknown trigger %d", trig->type);
   }
}
#endif

int accelerometer_init(accelerometer_handler_t handler)
{
   if (!device_is_ready(accelerometer_dev)) {
      LOG_ERR("Accelerometer device is not ready!");
      return -ENOTSUP;
   }
   if (handler) {
      accelerometer_handler = handler;
   } else {
      power_manager_suspend_device(accelerometer_dev);
   }
   return 0;
}

#if defined(CONFIG_ADXL362)
static const struct sensor_trigger trig = {
    .chan = SENSOR_CHAN_ACCEL_XYZ,
    .type = SENSOR_TRIG_MOTION};
#elif defined(CONFIG_ADXL367)
static const struct sensor_trigger trig = {
    .chan = SENSOR_CHAN_ACCEL_XYZ,
    .type = SENSOR_TRIG_THRESHOLD};
#elif defined(CONFIG_LIS2DH) && defined(CONFIG_LIS2DH_TRIGGER)
static const struct sensor_trigger trig = {
    .chan = SENSOR_CHAN_ACCEL_XYZ,
    .type = SENSOR_TRIG_DELTA};
#endif

int accelerometer_enable(bool enable)
{
   int rc = -ENOTSUP;

#if defined(CONFIG_ADXL362) || defined(CONFIG_ADXL367)
   if (device_is_ready(accelerometer_dev)) {
      rc = sensor_trigger_set(accelerometer_dev, &trig, enable ? accelerometer_trigger_handler : NULL);
      if (rc) {
         LOG_ERR("Accelerometer error: could not set motion trigger for device %s, %d / %s",
                 accelerometer_dev->name, rc, strerror(-rc));
      } else {
         LOG_INF("Accelerometer-motion-trigger: %s", enable ? "enabled" : "disabled");
      }
   }
#endif /* CONFIG_ADXL362 || CONFIG_ADXL367 */
#if defined(CONFIG_LIS2DH) && defined(CONFIG_LIS2DH_TRIGGER)
   if (device_is_ready(accelerometer_dev)) {

      // 1.5 m/s
      struct sensor_value value = {
          .val1 = 0,
          .val2 = 500000,
      };

      rc = sensor_attr_set(accelerometer_dev, SENSOR_CHAN_ACCEL_XYZ,
                           SENSOR_ATTR_SLOPE_TH,
                           &value);
      if (rc) {
         LOG_ERR("Accelerometer error: could not set threshold for device %s, %d / %s",
                 accelerometer_dev->name, rc, strerror(-rc));
      }

      // duration 0
      value.val1 = 0;
      value.val2 = 0;
      rc = sensor_attr_set(accelerometer_dev, SENSOR_CHAN_ACCEL_XYZ,
                           SENSOR_ATTR_SLOPE_DUR,
                           &value);
      if (rc) {
         LOG_ERR("Accelerometer error: could not set duration for device %s, %d / %s",
                 accelerometer_dev->name, rc, strerror(-rc));
      }
#ifdef CONFIG_LIS2DH_ACCEL_HP_FILTERS
      value.val1 = enable ? 1 : 0;
      rc = sensor_attr_set(accelerometer_dev, SENSOR_CHAN_ACCEL_XYZ,
                           SENSOR_ATTR_CONFIGURATION,
                           &value);
      if (rc) {
         LOG_ERR("Accelerometer error: could not set high-pass filter for device %s, %d / %s",
                 accelerometer_dev->name, rc, strerror(-rc));
      }
#endif

      rc = sensor_trigger_set(accelerometer_dev, &trig, enable ? accelerometer_trigger_handler : NULL);
      if (rc) {
         LOG_ERR("Accelerometer error: could not set delta trigger for device %s, %d / %s",
                 accelerometer_dev->name, rc, strerror(-rc));
      } else {
         LOG_INF("Accelerometer-delta-trigger: %s", enable ? "enabled" : "disabled");
      }
   }
#endif /* CONFIG_LIS2DH */
   return rc;
}

#if !defined(CONFIG_LIS2DH_TRIGGER_NONE) && defined(CONFIG_SH_CMD)

#include "sh_cmd.h"

static int accelerometer_cmd_info(const char *config)
{
   (void)config;
   accelerometer_read(accelerometer_dev, NULL);
   return 0;
}

SH_CMD(acc, NULL, "read accelerometer.", accelerometer_cmd_info, NULL, 0);

#endif
```

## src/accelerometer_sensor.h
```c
/*
 * Copyright (c) 2022 Achim Kraus CloudCoap.net
 *
 * See the NOTICE file(s) distributed with this work for additional
 * information regarding copyright ownership.
 *
 * This program and the accompanying materials are made available under the
 * terms of the Eclipse Public License 2.0 which is available at
 * http://www.eclipse.org/legal/epl-2.0
 *
 * SPDX-License-Identifier: EPL-2.0
 */

#ifndef ACCELEROMETER_SENSOR_H
#define ACCELEROMETER_SENSOR_H

#include <stdbool.h>

/** Number of accelerometer channels. */
#define ACCELEROMETER_CHANNELS 3

struct accelerometer_evt {
   /** x, y, z values. */
   double values[ACCELEROMETER_CHANNELS];
};

/** @brief accelerometer_handler_t asynchronous event handler.
 *
 *  @param[in] evt The event and accelerometer values (x, y, z).
 */
typedef void (*accelerometer_handler_t)(
    const struct accelerometer_evt *const evt);

int accelerometer_init(accelerometer_handler_t handler);

int accelerometer_enable(bool enable);

#endif /* ACCELEROMETER_SENSOR_H */
```

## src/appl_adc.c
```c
/*
 * Copyright (c) 2025 Achim Kraus CloudCoap.net
 *
 * See the NOTICE file(s) distributed with this work for additional
 * information regarding copyright ownership.
 *
 * This program and the accompanying materials are made available under the
 * terms of the Eclipse Public License 2.0 which is available at
 * http://www.eclipse.org/legal/epl-2.0
 *
 * SPDX-License-Identifier: EPL-2.0
 */

#include <inttypes.h>
#include <stddef.h>
#include <stdint.h>
#include <stdio.h>
#include <string.h>

#include <zephyr/device.h>
#include <zephyr/devicetree.h>
#include <zephyr/drivers/adc.h>
#include <zephyr/kernel.h>
#include <zephyr/logging/log.h>
#include <zephyr/sys/util.h>

#include "sh_cmd.h"

#if !DT_NODE_EXISTS(DT_PATH(zephyr_user)) || \
    !DT_NODE_HAS_PROP(DT_PATH(zephyr_user), io_channels)
#error "No suitable devicetree overlay specified"
#endif

LOG_MODULE_DECLARE(COAP_CLIENT, CONFIG_COAP_CLIENT_LOG_LEVEL);

#define DT_SPEC_AND_COMMA(node_id, prop, idx) \
   ADC_DT_SPEC_GET_BY_IDX(node_id, idx),

/* Data of ADC io-channels specified in devicetree. */
static const struct adc_dt_spec adc_channels[] = {
    DT_FOREACH_PROP_ELEM(DT_PATH(zephyr_user), io_channels,
                         DT_SPEC_AND_COMMA)};

int appl_adc_sample(int channel, int max_sample, int max_dither, uint16_t *voltage)
{
   int err = 0;
   int res = -EINVAL;
   uint16_t buf = 0;
   struct adc_sequence sequence = {
       .buffer = &buf,
       /* buffer size in bytes, not number of samples */
       .buffer_size = sizeof(buf),
   };
   struct adc_dt_spec adc_channel;

   if (channel < 0 || ARRAY_SIZE(adc_channels) <= channel) {
      LOG_WRN("ADC channel %d not available", channel);
      return -ENOTSUP;
   }
   adc_channel = adc_channels[channel];
#ifdef CONFIG_ADC_SENSOR_CHANNEL_0_MUX
   // overwrite logic channel id by 0
   adc_channel.channel_id = 0;
   adc_channel.channel_cfg.channel_id = 0;
#endif

   LOG_INF(" - %s, channel %d: ", adc_channel.dev->name, channel);

   if (!adc_is_ready_dt(&adc_channel)) {
      LOG_INF("ADC controller device %s not ready\n", adc_channel.dev->name);
      return -EINVAL;
   }

   err = adc_channel_setup_dt(&adc_channel);
   if (err < 0) {
      LOG_INF("Could not setup channel %d (%d, %s)\n", channel, err, strerror(-err));
      return -EINVAL;
   }

   for (int k = 0; k < max_sample; k++) {
      LOG_INF("ADC reading[%u]:\n", k);
      int32_t val_mv;

      (void)adc_sequence_init_dt(&adc_channel, &sequence);

      err = adc_read_dt(&adc_channel, &sequence);
      if (err < 0) {
         LOG_INF("Could not read channel %d (%d, %s)\n", channel, err, strerror(-err));
         continue;
      }

      /*
       * If using differential mode, the 16 bit value
       * in the ADC sample buffer should be a signed 2's
       * complement value.
       */
      if (adc_channel.channel_cfg.differential) {
         val_mv = (int32_t)((int16_t)buf);
      } else {
         val_mv = (int32_t)buf;
      }
      LOG_INF("%" PRId32, val_mv);
      err = adc_raw_to_millivolts_dt(&adc_channel,
                                     &val_mv);
      /* conversion to mV may not be supported, skip if not */
      if (err < 0) {
         LOG_INF(" (value in mV not available)\n");
      } else {
         LOG_INF(" = %" PRId32 " mV\n", val_mv);
      }
      if (voltage) {
         *voltage = val_mv;
      }
      res = 0;
   }
   return res;
}

int appl_adc_sample_desc(char *buf, size_t len)
{
   int err = 0;
   int index = 0;
   uint16_t voltage = 0;

   for (uint16_t i = 0U; i < ARRAY_SIZE(adc_channels); i++) {
      err = appl_adc_sample(i, 10, 5, &voltage);
      if (!err) {
         index += snprintf(buf + index, len - index, "CH %u, %u mV ", i, voltage);
      }
   }
   return index;
}

#ifdef CONFIG_SH_CMD

static char cmd_buf[64];

static int sh_cmd_adc(const char *parameter)
{
   (void)parameter;
   return appl_adc_sample_desc(cmd_buf, sizeof(cmd_buf));
}

SH_CMD(adc, NULL, "read ADC.", sh_cmd_adc, NULL, 0);
#endif /* CONFIG_SH_CMD */
```

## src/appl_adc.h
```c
/*
 * Copyright (c) 2025 Achim Kraus CloudCoap.net
 *
 * See the NOTICE file(s) distributed with this work for additional
 * information regarding copyright ownership.
 *
 * This program and the accompanying materials are made available under the
 * terms of the Eclipse Public License 2.0 which is available at
 * http://www.eclipse.org/legal/epl-2.0
 *
 * SPDX-License-Identifier: EPL-2.0
 */

#ifndef APPL_ADC_H_
#define APPL_ADC_H_

#include <stdint.h>
#include <stddef.h>

/** Measure the battery voltage.
 *
 * @param voltage the battery voltage in millivolts
 * 
 * @return 0 on success, or a negative error code.
 */
int appl_adc_sample(int channel, int max_sample, int max_dither, uint16_t* voltage);
int appl_adc_sample_desc(char* buf, size_t len);

#endif /* APPL_ADC_H_ */
```

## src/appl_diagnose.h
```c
/*
 * Copyright (c) 2023 Achim Kraus CloudCoap.net
 *
 * See the NOTICE file(s) distributed with this work for additional
 * information regarding copyright ownership.
 *
 * This program and the accompanying materials are made available under the
 * terms of the Eclipse Public License 2.0 which is available at
 * http://www.eclipse.org/legal/epl-2.0
 *
 * SPDX-License-Identifier: EPL-2.0
 */

#ifndef APPL_DIAGNOSE_H
#define APPL_DIAGNOSE_H

#include <stdbool.h>
#include <sys/types.h>
#include <zephyr/sys_clock.h>

#define ERROR_CODE_INIT_NO_LTE 0x0000
#define ERROR_CODE_INIT_NO_DTLS 0x1000
#define ERROR_CODE_INIT_NO_SUCCESS 0x2000
#define ERROR_CODE_OPEN_SOCKET 0x3000
#define ERROR_CODE_TOO_MANY_FAILURES 0x4000
#define ERROR_CODE_MODEM_FAULT 0x5000
#define ERROR_CODE_REBOOT_CMD 0x6000
#define ERROR_CODE_REBOOT_MANUAL 0x7000
#define ERROR_CODE_UPDATE 0x8000
#define ERROR_CODE_LOW_VOLTAGE 0x9000
#define ERROR_CODE_REINIT_CMD 0xA000

#define ERROR_CODE(BASE, ERR) ((BASE & 0xf000) | (ERR & 0xfff))
#define ERROR_CLASS(ERR) (ERR & 0xf000)
#define ERROR_DETAIL(ERR) (ERR & 0xfff)

#define ERROR_CLASS_IS_REBOOOT(ERR) (ERROR_CLASS(ERR) == ERROR_CODE_REBOOT_CMD || ERROR_CLASS(ERR) == ERROR_CODE_REINIT_CMD)

#define FLAG_REBOOT_RETRY 1
#define FLAG_REBOOT_LOW_VOLTAGE 2
#define FLAG_REBOOT 4
#define FLAG_RESET 8
#define FLAG_POWER_ON 16

#define WATCHDOG_TIMEOUT_S (60 * 5)

const char *appl_get_version(void);

void watchdog_feed(void);

void appl_reboot(int error, const k_timeout_t delay);
bool appl_reboots(void);

const char *appl_get_reboot_desciption(int error);

int appl_reboot_cause_description(size_t index, int flags, char *buf, size_t len);

uint32_t appl_reset_cause(int *flags, uint16_t *reboot_code);
int appl_reset_cause_description(char *buf, size_t len);

#endif /* APPL_DIAGNOSE_H */
```

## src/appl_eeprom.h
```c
/*
 * Copyright (c) 2022 Achim Kraus CloudCoap.net
 *
 * See the NOTICE file(s) distributed with this work for additional
 * information regarding copyright ownership.
 *
 * This program and the accompanying materials are made available under the
 * terms of the Eclipse Public License 2.0 which is available at
 * http://www.eclipse.org/legal/epl-2.0
 *
 * SPDX-License-Identifier: EPL-2.0
 */

#ifndef APPL_EEPROM_H
#define APPL_EEPROM_H

int appl_eeprom_init(void);
int appl_eeprom_read_memory(uint16_t mem_addr, uint8_t *data, uint32_t num_bytes);
int appl_eeprom_write_memory(uint16_t mem_addr, const uint8_t *data, uint32_t num_bytes);

int appl_eeprom_write_code(int64_t time, uint16_t code);
int appl_eeprom_read_codes(int64_t* times, uint16_t* codes, size_t count);

#endif /* APPL_EEPROM_H */
```

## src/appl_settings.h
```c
/*
 * Copyright (c) 2024 Achim Kraus CloudCoap.net
 *
 * See the NOTICE file(s) distributed with this work for additional
 * information regarding copyright ownership.
 *
 * This program and the accompanying materials are made available under the
 * terms of the Eclipse Public License 2.0 which is available at
 * http://www.eclipse.org/legal/epl-2.0
 *
 * SPDX-License-Identifier: EPL-2.0
 */

#ifndef APPL_SETTINGS_H
#define APPL_SETTINGS_H

#include <stdbool.h>

#include "dtls.h"

#define MAX_SETTINGS_VALUE_LENGTH 64

int appl_settings_init(const char *imei, dtls_handler_t* handler);

int appl_settings_get_apn(char* buf, size_t len);
int appl_settings_get_device_identity(char* buf, size_t len);
int appl_settings_get_scheme(char* buf, size_t len);
int appl_settings_get_destination(char* buf, size_t len);
int appl_settings_get_coap_path(char* buf, size_t len);
int appl_settings_get_coap_query(char* buf, size_t len);

uint16_t appl_settings_get_destination_port(bool secure);

int appl_settings_get_battery_profile(void);

int appl_settings_get_reboot_code(size_t index, int64_t* time, uint16_t* code);
int appl_settings_add_reboot_code(uint16_t reboot_code);

#ifdef CONFIG_NAU7802_SCALE
int appl_settings_get_bytes(const char* id, int64_t* time, uint8_t* data, size_t data_size);
int appl_settings_set_bytes(const char* id, uint8_t* data, size_t data_size);
#endif /* CONFIG_NAU7802_SCALE */

int appl_settings_get_provisioning(char *buf, size_t len);
bool appl_settings_is_provisioning(void);
void appl_settings_provisioning_done(void);
bool appl_settings_provisioning_reset(void);

bool appl_settings_unlock(const char* value);

#endif /* APPL_SETTINGS_H */
```
